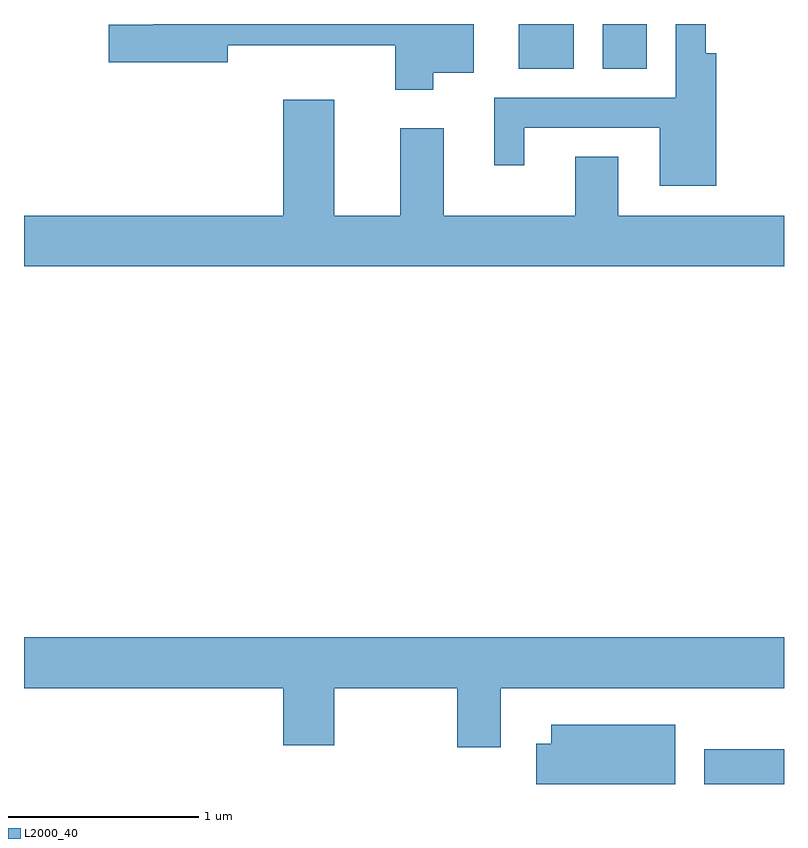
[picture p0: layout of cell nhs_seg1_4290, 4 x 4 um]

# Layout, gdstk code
import gdstk
lib = gdstk.Library(unit=1e-6, precision=1e-09)
def R(c, l, rs):  # rectangles x0, y0, x1, y1
    for r in rs: c.add(gdstk.rectangle(r[:2], r[2:], *l))
def P(c, l, *ps):  # polygons
    for p in ps: c.add(gdstk.Polygon(p, *l))
L2000_40 = (2000, 40)

nhs_seg1_4290 = lib.new_cell('nhs_seg1_4290')
R(nhs_seg1_4290, L2000_40, [(317.191,925.712,317.611,925.894), (316.216,929.476,316.504,929.712), (316.656,929.476,316.889,929.712)])
P(nhs_seg1_4290, L2000_40, [(317.254,929.559),(317.199,929.559),(317.199,929.712),(317.041,929.712),(317.041,929.324),(316.086,929.324),(316.086,928.968),(316.244,928.968),(316.244,929.166),(316.956,929.166),(316.956,928.861),(317.254,928.861)],
  [(315.764,929.456),(315.979,929.456),(315.979,929.712),(314.291,929.712),(314.291,929.709),(314.056,929.709),(314.056,929.511),(314.684,929.511),(314.684,929.601),(315.566,929.601),(315.566,929.366),(315.764,929.366)],
  [(317.611,928.704),(316.739,928.704),(316.739,929.014),(316.511,929.014),(316.511,928.704),(315.819,928.704),(315.819,929.164),(315.591,929.164),(315.591,928.704),(315.244,928.704),(315.244,929.314),(314.976,929.314),(314.976,928.704),(313.611,928.704),(313.611,928.436),(317.611,928.436)],
  [(316.119,926.216),(317.611,926.216),(317.611,926.484),(313.611,926.484),(313.611,926.216),(314.976,926.216),(314.976,925.916),(315.244,925.916),(315.244,926.216),(315.891,926.216),(315.891,925.906),(316.119,925.906)],
  [(317.039,926.024),(316.386,926.024),(316.386,925.924),(316.306,925.924),(316.306,925.712),(317.039,925.712)])

lib.write_gds('nhs_seg1_4290.gds')
